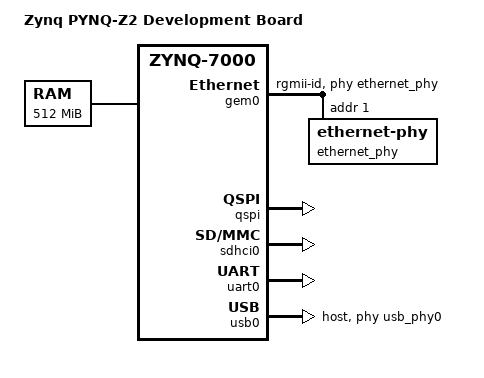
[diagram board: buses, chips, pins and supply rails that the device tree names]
/*
 * TUL Pynq-Z2 board DTS
 */
/dts-v1/;
#include "zynq-7000.dtsi"

/ {
    model = "Zynq PYNQ-Z2 Development Board";
    compatible = "digilent,zynq-artyz", "xlnx,zynq-7000";

    aliases {
        ethernet0 = &gem0;
        serial0 = &uart0;
        spi0 = &qspi;
        mmc0 = &sdhci0;
    };

    memory {
        device_type = "memory";
        reg = <0x0 0x20000000>;
    };
    
    socdp8_console {
        compatible = "generic-uio";
        reg = <0x43C10000 0x10000>;
        reg-names = "socdp8_console";
    };

    socdp8_core {
        compatible = "generic-uio";
        reg = <0x43C20000 0x20000>;
        reg-names = "socdp8_core_mem";
    };

    socdp8_io {
        compatible = "generic-uio";
        reg = <0x43C00000 0x10000>;
        reg-names = "socdp8_io_ctrl";
    };

    chosen {
        bootargs = "";
        stdout-path = "serial0:115200n8";
    };

    usb_phy0: phy0 {
        compatible = "ulpi-phy";
        #phy-cells = <0>;
        reg = <0xe0002000 0x1000>;
        view-port = <0x170>;
        drv-vbus;
    };
};

&clkc {
    ps-clk-frequency = <50000000>;
};

&gem0 {
    status = "okay";
    phy-mode = "rgmii-id";
    phy-handle = <&ethernet_phy>;

    ethernet_phy: ethernet-phy@0 { /* rtl8211e-vl */
        reg = <1>;
    };
};

&qspi {
    u-boot,dm-pre-reloc;
    status = "okay";
};

&sdhci0 {
    u-boot,dm-pre-reloc;
    status = "okay";
};

&uart0 {
    u-boot,dm-pre-reloc;
    status = "okay";
};

&usb0 {
    status = "okay";
    dr_mode = "host";
    usb-phy = <&usb_phy0>;
};
